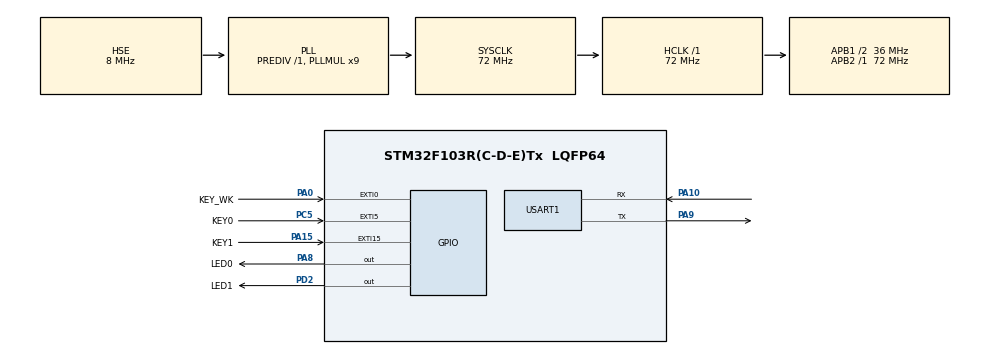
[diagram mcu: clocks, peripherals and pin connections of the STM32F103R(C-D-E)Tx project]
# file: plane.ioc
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Mcu.Family=STM32F1
Mcu.Name=STM32F103R(C-D-E)Tx
Mcu.Package=LQFP64
NVIC.EXTI0_IRQn=true\:1\:0\:true\:false\:true\:true\:true
NVIC.EXTI15_10_IRQn=true\:1\:2\:true\:false\:true\:true\:true
NVIC.EXTI9_5_IRQn=true\:1\:1\:true\:false\:true\:true\:true
NVIC.PriorityGroup=NVIC_PRIORITYGROUP_2
NVIC.USART1_IRQn=true\:0\:0\:false\:false\:true\:true\:true
PA0-WKUP.GPIO_Label=KEY_WK
PA0-WKUP.GPIO_PuPd=GPIO_PULLDOWN
PA0-WKUP.Signal=GPXTI0
PA10.Mode=Asynchronous
PA10.Signal=USART1_RX
PA13.Mode=Serial_Wire
PA13.Signal=SYS_JTMS-SWDIO
PA14.Mode=Serial_Wire
PA14.Signal=SYS_JTCK-SWCLK
PA15.GPIO_Label=KEY1
PA15.GPIO_PuPd=GPIO_PULLUP
PA15.Signal=GPXTI15
PA8.GPIO_Label=LED0
PA8.Signal=GPIO_Output
PA9.Mode=Asynchronous
PA9.Signal=USART1_TX
PC5.GPIO_Label=KEY0
PC5.GPIO_PuPd=GPIO_PULLUP
PC5.Signal=GPXTI5
PD0-OSC_IN.Mode=HSE-External-Oscillator
PD0-OSC_IN.Signal=RCC_OSC_IN
PD1-OSC_OUT.Mode=HSE-External-Oscillator
PD1-OSC_OUT.Signal=RCC_OSC_OUT
PD2.GPIO_Label=LED1
PD2.Signal=GPIO_Output
ProjectManager.HeapSize=0x200
ProjectManager.StackSize=0x400
ProjectManager.TargetToolchain=STM32CubeIDE
RCC.AHBFreq_Value=72000000
RCC.APB1CLKDivider=RCC_HCLK_DIV2
RCC.APB1Freq_Value=36000000
RCC.APB1TimFreq_Value=72000000
RCC.APB2Freq_Value=72000000
RCC.APB2TimFreq_Value=72000000
RCC.HCLKFreq_Value=72000000
RCC.PLLMUL=RCC_PLL_MUL9
RCC.PLLSourceVirtual=RCC_PLLSOURCE_HSE
RCC.SYSCLKFreq_VALUE=72000000
RCC.SYSCLKSource=RCC_SYSCLKSOURCE_PLLCLK
RCC.USBFreq_Value=72000000
USART1.VirtualMode=VM_ASYNC
board=custom

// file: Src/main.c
/* USER CODE BEGIN Header */
/**
 ******************************************************************************
 * @file           : main.c
 * @brief          : Main program body
 ******************************************************************************
 * @attention
 *
 * <h2><center>&copy; Copyright (c) 2019 STMicroelectronics.
 * All rights reserved.</center></h2>
 *
 * This software component is licensed by ST under BSD 3-Clause license,
 * the "License"; You may not use this file except in compliance with the
 * License. You may obtain a copy of the License at:
 *                        opensource.org/licenses/BSD-3-Clause
 *
 ******************************************************************************
 */
/* USER CODE END Header */

#include "main.h"
#include "usart.h"
#include "gpio.h"

/* USER CODE BEGIN Includes */
#include "run.h"
/* USER CODE END Includes */

/* USER CODE BEGIN PV */
struct Data data;
/* USER CODE END PV */

void SystemClock_Config(void);
/* USER CODE BEGIN PFP */
void init_interface_info(void);
void draw_all_through_struct(void);
/* USER CODE END PFP */

int main(void) {

	/* MCU Configuration--------------------------------------------------------*/

	/* Reset of all peripherals, Initializes the Flash interface and the Systick. */
	HAL_Init();

	/* Configure the system clock */
	SystemClock_Config();

	/* USER CODE BEGIN SysInit */

	LCD_Init();
	BACK_COLOR = WHITE;
	POINT_COLOR = BLACK;  // black font colour
	LCD_Clear(WHITE);

	/* USER CODE END SysInit */

	/* Initialize all configured peripherals */
	MX_GPIO_Init();
	MX_USART1_UART_Init();
	/* USER CODE BEGIN 2 */
	Welcome:

	LCD_Clear(WHITE);

	// Firstly DOWN two LED lights
	HAL_GPIO_WritePin(LED0_GPIO_Port, LED0_Pin, GPIO_PIN_SET);
	HAL_GPIO_WritePin(LED1_GPIO_Port, LED1_Pin, GPIO_PIN_SET);

	draw_start_page();  // Draw welcome stage
	init_interface_info();  // initialize game data

	// Light UP LED0 (red)
	HAL_GPIO_WritePin(LED0_GPIO_Port, LED0_Pin, GPIO_PIN_RESET);
	skip_via_KEY0();
	HAL_GPIO_WritePin(LED0_GPIO_Port, LED0_Pin, GPIO_PIN_SET);
	LCD_Clear(WHITE);

	draw_stage_init(1);
	HAL_Delay(3000);
	LCD_Clear(WHITE);

	init_play_interface();  // Draw main game stage
	draw_all_through_struct();  //惰性渲染相关的东西
	HAL_Delay(1000);

	/* USER CODE END 2 */

	/* Infinite loop */
	while (1) {

		// Exit loop if all lives lost
		if (data.life == 0)
			break;

		if (data.score == STG3_SCORE) {
			data.pass = 1;
			break;
		}

		// Stage switch
		if ((data.score == STG1_SCORE || data.score == STG2_SCORE)
				&& data.clear == 0) {
			data.level++;

			clear_all_enemy_plane(data.self_plane, data.enemy_planes);

			data.clear = 1;
			data.self_plane[0] = 120;
			data.self_plane[1] = 290;
			if (data.score == STG1_SCORE) {
				draw_stage_clear(1);
				HAL_GPIO_WritePin(LED1_GPIO_Port, LED1_Pin, GPIO_PIN_RESET);
				skip_via_KEY0();
				HAL_GPIO_WritePin(LED1_GPIO_Port, LED1_Pin, GPIO_PIN_SET);
				draw_stage_init(2);
				HAL_Delay(3000);
				LCD_Clear(WHITE);
				init_play_interface();
				draw_all_through_struct();
				data.speed = 8;
				HAL_Delay(1000);

			}
			if (data.score == STG2_SCORE) {
				draw_stage_clear(2);
				HAL_GPIO_WritePin(LED1_GPIO_Port, LED1_Pin, GPIO_PIN_RESET);
				skip_via_KEY0();
				HAL_GPIO_WritePin(LED1_GPIO_Port, LED1_Pin, GPIO_PIN_SET);
				draw_stage_init(3);
				HAL_Delay(3000);
				LCD_Clear(WHITE);
				init_play_interface();
				draw_all_through_struct();
				data.speed = 1;
				HAL_Delay(1000);

			}
		}

		if (data.score != STG1_SCORE && data.score != STG2_SCORE
				&& data.clear == 1) {
			data.clear = 0;
		}

		move_selfPlane(data.self_plane, data.self_buttles);
		update_SelfButtles(data.self_buttles);

		update_enemy_planes(data.enemy_planes);
		generate_enemy_planes(data.level, data.enemy_planes);
		check_self_plane_to_enemy_plane_collide(&(data.score), &(data.life),
				data.self_plane, data.enemy_planes);
		check_self_buttles_to_enemy_plane_collide(&(data.score),
				data.self_buttles, data.enemy_planes);

		draw_all_through_struct();

		HAL_Delay(data.speed);
	}

	if (data.pass == 0)
		draw_failed(data.score);
	else if (data.pass == 1)
		draw_cleared();

	HAL_GPIO_WritePin(LED0_GPIO_Port, LED0_Pin, GPIO_PIN_RESET);
	skip_via_KEY0();
	HAL_GPIO_WritePin(LED0_GPIO_Port, LED0_Pin, GPIO_PIN_SET);

	/* USER CODE BEGIN 3 */
	goto Welcome;
	/* USER CODE END 3 */
}

void SystemClock_Config(void) {
	RCC_OscInitTypeDef RCC_OscInitStruct = { 0 };
	RCC_ClkInitTypeDef RCC_ClkInitStruct = { 0 };

	/** Initializes the CPU, AHB and APB busses clocks
	 */
	RCC_OscInitStruct.OscillatorType = RCC_OSCILLATORTYPE_HSE;
	RCC_OscInitStruct.HSEState = RCC_HSE_ON;
	RCC_OscInitStruct.HSEPredivValue = RCC_HSE_PREDIV_DIV1;
	RCC_OscInitStruct.HSIState = RCC_HSI_ON;
	RCC_OscInitStruct.PLL.PLLState = RCC_PLL_ON;
	RCC_OscInitStruct.PLL.PLLSource = RCC_PLLSOURCE_HSE;
	RCC_OscInitStruct.PLL.PLLMUL = RCC_PLL_MUL9;
	if (HAL_RCC_OscConfig(&RCC_OscInitStruct) != HAL_OK) {
		Error_Handler();
	}
	/** Initializes the CPU, AHB and APB busses clocks
	 */
	RCC_ClkInitStruct.ClockType = RCC_CLOCKTYPE_HCLK | RCC_CLOCKTYPE_SYSCLK
			| RCC_CLOCKTYPE_PCLK1 | RCC_CLOCKTYPE_PCLK2;
	RCC_ClkInitStruct.SYSCLKSource = RCC_SYSCLKSOURCE_PLLCLK;
	RCC_ClkInitStruct.AHBCLKDivider = RCC_SYSCLK_DIV1;
	RCC_ClkInitStruct.APB1CLKDivider = RCC_HCLK_DIV2;
	RCC_ClkInitStruct.APB2CLKDivider = RCC_HCLK_DIV1;

	if (HAL_RCC_ClockConfig(&RCC_ClkInitStruct, FLASH_LATENCY_2) != HAL_OK) {
		Error_Handler();
	}
}

/* USER CODE BEGIN 4 */

void init_interface_info(void) {
	int i;

	data.score = 0;
	data.life = 3;
	data.level = 1;
	data.clear = 0;
	data.pass = 0;
	data.speed = 20;

	data.self_plane[0] = 120;
	data.self_plane[1] = 290;

	for (i = 0; i < SELF_BUTTLE_MAX; i++) {
		data.self_buttles[i][0] = 0;
		data.self_buttles[i][1] = 0;
	}

	for (i = 0; i < ENEMY_PLANE_MAX; i++) {
		data.enemy_planes[i][0] = 0;
		data.enemy_planes[i][1] = 0;
	}

	for (i = 0; i < ENEMY_BUTTLE_MAX; i++) {
		data.enemy_buttles[i][0] = 0;
		data.enemy_buttles[i][1] = 0;
	}
}

void draw_all_through_struct(void) {
	draw_play_all(data.score, data.life, data.self_plane, data.self_buttles,
			data.enemy_planes, data.enemy_buttles);
}

/* USER CODE END 4 */

void Error_Handler(void) {
}

/************************ (C) COPYRIGHT STMicroelectronics *****END OF FILE****/
